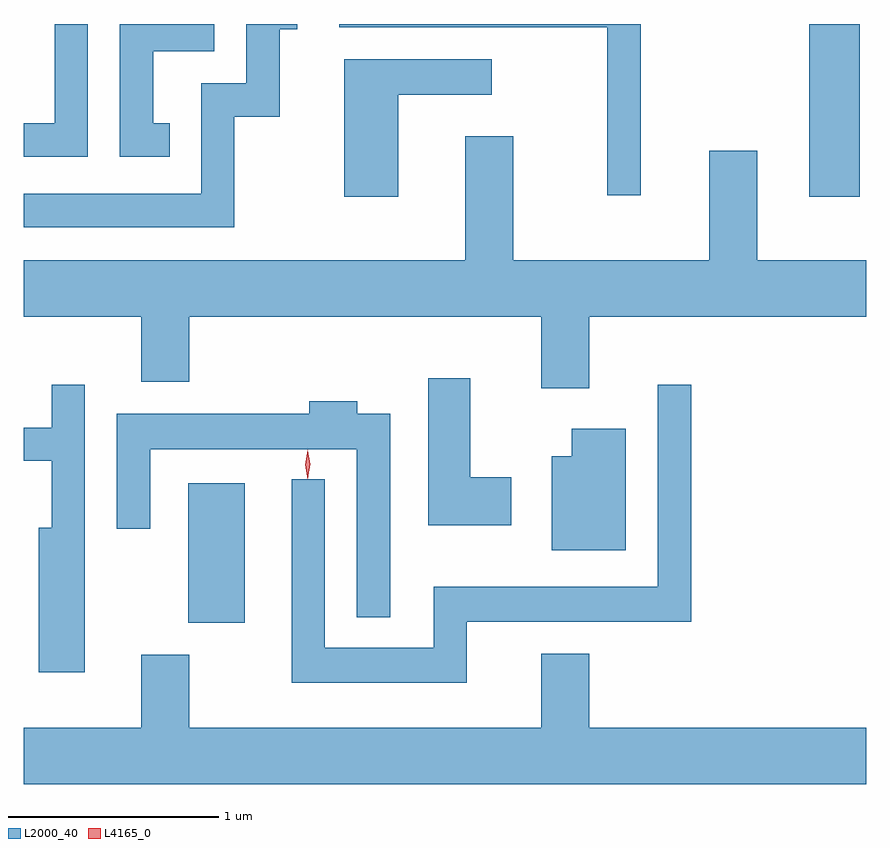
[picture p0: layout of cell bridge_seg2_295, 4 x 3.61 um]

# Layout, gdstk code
import gdstk
lib = gdstk.Library(unit=1e-6, precision=1e-09)
def R(c, l, rs):  # rectangles x0, y0, x1, y1
    for r in rs: c.add(gdstk.rectangle(r[:2], r[2:], *l))
def P(c, l, *ps):  # polygons
    for p in ps: c.add(gdstk.Polygon(p, *l))
L2000_40 = (2000, 40)
L4165_0 = (4165, 0)

bridge_seg2_295 = lib.new_cell('bridge_seg2_295')
R(bridge_seg2_295, L2000_40, [(411.366,1080.161,411.634,1080.824), (414.316,1082.186,414.554,1083.006)])
P(bridge_seg2_295, L2000_40, [(410.889,1083.006),(410.731,1083.006),(410.731,1082.534),(410.585,1082.534),(410.585,1082.376),(410.889,1082.376)],
  [(411.584,1082.566),(411.799,1082.566),(411.799,1082.981),(411.883,1082.981),(411.883,1083.006),(411.641,1083.006),(411.641,1082.724),(411.426,1082.724),(411.426,1082.199),(410.585,1082.199),(410.585,1082.041),(411.584,1082.041)],
  [(411.278,1082.534),(411.199,1082.534),(411.199,1082.876),(411.489,1082.876),(411.489,1083.006),(411.041,1083.006),(411.041,1082.376),(411.278,1082.376)],
  [(413.514,1083.006),(412.083,1083.006),(412.083,1082.991),(413.356,1082.991),(413.356,1082.193),(413.514,1082.193)],
  [(412.364,1082.671),(412.808,1082.671),(412.808,1082.839),(412.106,1082.839),(412.106,1082.186),(412.364,1082.186)],
  [(413.269,1081.616),(414.585,1081.616),(414.585,1081.884),(414.069,1081.884),(414.069,1082.404),(413.841,1082.404),(413.841,1081.884),(412.909,1081.884),(412.909,1082.474),(412.681,1082.474),(412.681,1081.884),(410.585,1081.884),(410.585,1081.616),(411.141,1081.616),(411.141,1081.306),(411.369,1081.306),(411.369,1081.616),(413.041,1081.616),(413.041,1081.276),(413.269,1081.276)],
  [(412.899,1080.854),(412.704,1080.854),(412.704,1081.324),(412.506,1081.324),(412.506,1080.626),(412.899,1080.626)],
  [(410.874,1081.293),(410.716,1081.293),(410.716,1081.089),(410.585,1081.089),(410.585,1080.931),(410.716,1080.931),(410.716,1080.614),(410.656,1080.614),(410.656,1079.926),(410.874,1079.926)],
  [(412.689,1080.166),(413.754,1080.166),(413.754,1081.293),(413.596,1081.293),(413.596,1080.334),(412.531,1080.334),(412.531,1080.044),(412.014,1080.044),(412.014,1080.843),(411.856,1080.843),(411.856,1079.876),(412.689,1079.876)],
  [(412.324,1081.154),(412.169,1081.154),(412.169,1081.214),(411.941,1081.214),(411.941,1081.154),(411.026,1081.154),(411.026,1080.608),(411.184,1080.608),(411.184,1080.986),(412.166,1080.986),(412.166,1080.188),(412.324,1080.188)],
  [(413.444,1081.084),(413.186,1081.084),(413.186,1080.954),(413.091,1080.954),(413.091,1080.506),(413.444,1080.506)],
  [(414.585,1079.664),(413.269,1079.664),(413.269,1080.014),(413.041,1080.014),(413.041,1079.664),(411.369,1079.664),(411.369,1080.009),(411.141,1080.009),(411.141,1079.664),(410.585,1079.664),(410.585,1079.396),(414.585,1079.396)])
P(bridge_seg2_295, L4165_0, [(411.932,1080.843),(411.932,1080.844),(411.922,1080.913),(411.932,1080.982),(411.932,1080.983),(411.933,1080.982),(411.942,1080.913),(411.933,1080.844)],
  [(411.934,1080.847),(411.933,1080.848),(411.924,1080.914),(411.933,1080.98),(411.934,1080.98),(411.934,1080.98),(411.944,1080.914),(411.934,1080.848)])

lib.write_gds('bridge_seg2_295.gds')
